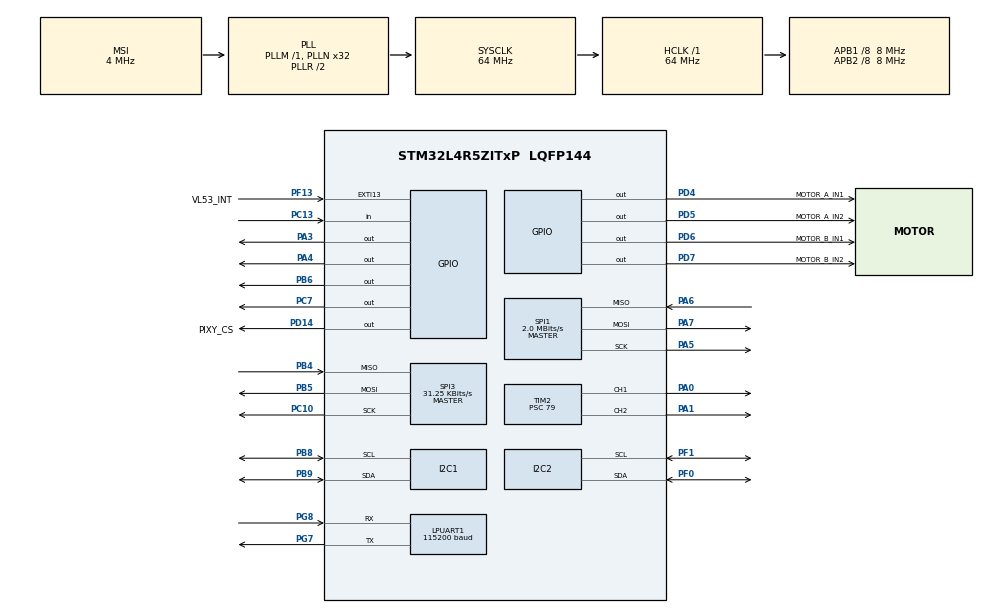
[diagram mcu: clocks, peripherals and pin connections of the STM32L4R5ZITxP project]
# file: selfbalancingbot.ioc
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Dma.I2C1_RX.0.Direction=DMA_PERIPH_TO_MEMORY
Dma.I2C1_RX.0.EventEnable=DISABLE
Dma.I2C1_RX.0.Instance=DMA1_Channel1
Dma.I2C1_RX.0.MemDataAlignment=DMA_MDATAALIGN_BYTE
Dma.I2C1_RX.0.MemInc=DMA_MINC_ENABLE
Dma.I2C1_RX.0.Mode=DMA_NORMAL
Dma.I2C1_RX.0.PeriphDataAlignment=DMA_PDATAALIGN_BYTE
Dma.I2C1_RX.0.PeriphInc=DMA_PINC_DISABLE
Dma.I2C1_RX.0.Polarity=HAL_DMAMUX_REQUEST_GEN_RISING
Dma.I2C1_RX.0.Priority=DMA_PRIORITY_LOW
Dma.I2C1_RX.0.RequestNumber=1
Dma.I2C1_RX.0.SignalID=NONE
Dma.I2C1_RX.0.SyncEnable=DISABLE
Dma.I2C1_RX.0.SyncPolarity=HAL_DMAMUX_SYNC_NO_EVENT
Dma.I2C1_RX.0.SyncRequestNumber=1
Dma.I2C1_RX.0.SyncSignalID=NONE
Dma.I2C2_RX.1.Direction=DMA_PERIPH_TO_MEMORY
Dma.I2C2_RX.1.EventEnable=DISABLE
Dma.I2C2_RX.1.Instance=DMA1_Channel2
Dma.I2C2_RX.1.MemDataAlignment=DMA_MDATAALIGN_BYTE
Dma.I2C2_RX.1.MemInc=DMA_MINC_ENABLE
Dma.I2C2_RX.1.Mode=DMA_NORMAL
Dma.I2C2_RX.1.PeriphDataAlignment=DMA_PDATAALIGN_BYTE
Dma.I2C2_RX.1.PeriphInc=DMA_PINC_DISABLE
Dma.I2C2_RX.1.Polarity=HAL_DMAMUX_REQUEST_GEN_RISING
Dma.I2C2_RX.1.Priority=DMA_PRIORITY_LOW
Dma.I2C2_RX.1.RequestNumber=1
Dma.I2C2_RX.1.SignalID=NONE
Dma.I2C2_RX.1.SyncEnable=DISABLE
Dma.I2C2_RX.1.SyncPolarity=HAL_DMAMUX_SYNC_NO_EVENT
Dma.I2C2_RX.1.SyncRequestNumber=1
Dma.I2C2_RX.1.SyncSignalID=NONE
Dma.Request0=I2C1_RX
Dma.Request1=I2C2_RX
I2C1.Timing=0x00201D2B
I2C2.Timing=0x10B17DB5
LPUART1.BaudRate=115200
LPUART1.WordLength=UART_WORDLENGTH_8B
Mcu.Family=STM32L4
Mcu.Name=STM32L4R5ZITxP
Mcu.Package=LQFP144
NVIC.DMA1_Channel1_IRQn=true\:0\:0\:false\:false\:true\:false\:true\:true
NVIC.DMA1_Channel2_IRQn=true\:0\:0\:false\:false\:true\:false\:true\:true
NVIC.EXTI15_10_IRQn=true\:0\:0\:false\:false\:true\:true\:true\:true
NVIC.I2C1_EV_IRQn=true\:0\:0\:false\:false\:true\:true\:true\:true
NVIC.I2C2_EV_IRQn=true\:0\:0\:false\:false\:true\:true\:true\:true
NVIC.PriorityGroup=NVIC_PRIORITYGROUP_4
PA0.Signal=S_TIM2_CH1
PA1.Signal=S_TIM2_CH2
PA10.Signal=USB_OTG_FS_ID
PA11.Signal=S_TIM1_CH4
PA13\ (JTMS/SWDIO).Signal=SYS_JTMS-SWDIO
PA14\ (JTCK/SWCLK).Signal=SYS_JTCK-SWCLK
PA3.Signal=GPIO_Output
PA4.Signal=GPIO_Output
PA5.Mode=Full_Duplex_Master
PA5.Signal=SPI1_SCK
PA6.Mode=Full_Duplex_Master
PA6.Signal=SPI1_MISO
PA7.Mode=Full_Duplex_Master
PA7.Signal=SPI1_MOSI
PA8.Signal=USB_OTG_FS_SOF
PA9.Signal=USB_OTG_FS_VBUS
PB0.Signal=S_TIM3_CH3
PB1.Signal=ADCx_IN16
PB10.Signal=S_TIM2_CH3
PB12.Signal=SAI2_FS_A
PB13.Signal=SAI2_SCK_A
PB14.Signal=S_TIM15_CH1
PB15.Signal=SAI2_SD_A
PB2.Signal=COMP1_INP
PB4\ (NJTRST).Mode=Full_Duplex_Master
PB4\ (NJTRST).Signal=SPI3_MISO
PB5.Mode=Full_Duplex_Master
PB5.Signal=SPI3_MOSI
PB6.GPIO_PuPd=GPIO_PULLUP
PB6.Signal=GPIO_Output
PB8.Mode=I2C
PB8.Signal=I2C1_SCL
PB9.Mode=I2C
PB9.Signal=I2C1_SDA
PC0.Signal=ADCx_IN1
PC1.Signal=ADCx_IN2
PC10.Mode=Full_Duplex_Master
PC10.Signal=SPI3_SCK
PC11.Signal=SDMMC1_D3
PC12.Signal=SDMMC1_CK
PC13.Signal=GPIO_Input
PC14-OSC32_IN\ (PC14).Signal=RCC_OSC32_IN
PC15-OSC32_OUT\ (PC15).Signal=RCC_OSC32_OUT
PC2.Signal=ADCx_IN3
PC3.Signal=ADCx_IN4
PC4.Signal=ADCx_IN13
PC5.Signal=ADCx_IN14
PC6.Signal=SAI2_MCLK_A
PC7.Signal=GPIO_Output
PC8.Signal=SDMMC1_D0
PC9.Signal=SDMMC1_D1
PD0.Signal=CAN1_RX
PD14.GPIO_Label=PIXY_CS
PD14.Signal=GPIO_Output
PD15.Signal=S_TIM4_CH4
PD2.Signal=SDMMC1_CMD
PD3.Signal=USART2_CTS
PD4.GPIO_Label=MOTOR_A_IN1
PD4.Signal=GPIO_Output
PD5.GPIO_Label=MOTOR_A_IN2
PD5.Signal=GPIO_Output
PD6.GPIO_Label=MOTOR_B_IN1
PD6.Signal=GPIO_Output
PD7.GPIO_Label=MOTOR_B_IN2
PD7.Signal=GPIO_Output
PD8.Signal=USART3_TX
PD9.Signal=USART3_RX
PE0.Signal=S_TIM4_ETR
PE10.Signal=TIM1_CH2N
PE11.Signal=S_TIM1_CH2
PE12.Signal=TIM1_CH3N
PE13.Signal=S_TIM1_CH3
PE14.Signal=TIM1_BKIN2
PE15.Signal=TIM1_BKIN
PE2.Signal=SAI1_MCLK_A
PE3.Signal=SAI1_SD_B
PE7.Signal=S_TIM1_ETR
PE8.Signal=TIM1_CH1N
PE9.Signal=S_TIM1_CH1
PF0.Mode=I2C
PF0.Signal=I2C2_SDA
PF1.Mode=I2C
PF1.Signal=I2C2_SCL
PF13.GPIO_Label=VL53_INT
PF13.GPIO_ModeDefaultEXTI=GPIO_MODE_IT_FALLING
PF13.GPIO_PuPd=GPIO_PULLUP
PF13.Signal=GPXTI13
PF2.Signal=I2C2_SMBA
PF7.Signal=SAI1_MCLK_B
PG7.Mode=Asynchronous
PG7.Signal=LPUART1_TX
PG8.Mode=Asynchronous
PG8.Signal=LPUART1_RX
PH0-OSC_IN\ (PH0).Mode=HSE-External-Oscillator
PH0-OSC_IN\ (PH0).Signal=RCC_OSC_IN
PH1-OSC_OUT\ (PH1).Mode=HSE-External-Oscillator
PH1-OSC_OUT\ (PH1).Signal=RCC_OSC_OUT
ProjectManager.HeapSize=0x200
ProjectManager.StackSize=0x400
ProjectManager.TargetToolchain=STM32CubeIDE
RCC.AHBFreq_Value=64000000
RCC.APB1CLKDivider=RCC_HCLK_DIV8
RCC.APB1Freq_Value=8000000
RCC.APB1TimFreq_Value=16000000
RCC.APB2CLKDivider=RCC_HCLK_DIV8
RCC.APB2Freq_Value=8000000
RCC.APB2TimFreq_Value=16000000
RCC.CortexFreq_Value=64000000
RCC.HCLKFreq_Value=64000000
RCC.HSE_VALUE=8000000
RCC.HSI48_VALUE=48000000
RCC.HSI_VALUE=16000000
RCC.I2C2CLockSelection=RCC_I2C2CLKSOURCE_SYSCLK
RCC.LSE_VALUE=32768
RCC.MSI_VALUE=4000000
RCC.PLLN=32
RCC.SYSCLKFreq_VALUE=64000000
RCC.SYSCLKSource=RCC_SYSCLKSOURCE_PLLCLK
RCC.VCOOutputFreq_Value=128000000
SH.ADCx_IN1.0=ADC1_IN1
SH.ADCx_IN13.0=ADC1_IN13
SH.ADCx_IN14.0=ADC1_IN14
SH.ADCx_IN16.0=ADC1_IN16
SH.ADCx_IN2.0=ADC1_IN2
SH.ADCx_IN3.0=ADC1_IN3
SH.ADCx_IN4.0=ADC1_IN4
SH.S_TIM15_CH1.0=TIM15_CH1
SH.S_TIM1_CH1.0=TIM1_CH1
SH.S_TIM1_CH2.0=TIM1_CH2
SH.S_TIM1_CH3.0=TIM1_CH3
SH.S_TIM1_CH4.0=TIM1_CH4
SH.S_TIM1_ETR.0=TIM1_ETR
SH.S_TIM2_CH1.0=TIM2_CH1,PWM Generation1 CH1
SH.S_TIM2_CH2.0=TIM2_CH2,PWM Generation2 CH2
SH.S_TIM2_CH3.0=TIM2_CH3
SH.S_TIM3_CH3.0=TIM3_CH3
SH.S_TIM4_CH4.0=TIM4_CH4
SH.S_TIM4_ETR.0=TIM4_ETR
SPI1.BaudRatePrescaler=SPI_BAUDRATEPRESCALER_4
SPI1.CLKPhase=SPI_PHASE_2EDGE
SPI1.CLKPolarity=SPI_POLARITY_HIGH
SPI1.CalculateBaudRate=2.0 MBits/s
SPI1.DataSize=SPI_DATASIZE_8BIT
SPI1.Direction=SPI_DIRECTION_2LINES
SPI1.FirstBit=SPI_FIRSTBIT_MSB
SPI1.Mode=SPI_MODE_MASTER
SPI1.VirtualType=VM_MASTER
SPI3.BaudRatePrescaler=SPI_BAUDRATEPRESCALER_256
SPI3.CLKPhase=SPI_PHASE_2EDGE
SPI3.CLKPolarity=SPI_POLARITY_HIGH
SPI3.CalculateBaudRate=31.25 KBits/s
SPI3.DataSize=SPI_DATASIZE_8BIT
SPI3.Direction=SPI_DIRECTION_2LINES
SPI3.FirstBit=SPI_FIRSTBIT_LSB
SPI3.Mode=SPI_MODE_MASTER
SPI3.VirtualType=VM_MASTER
TIM2.AutoReloadPreload=TIM_AUTORELOAD_PRELOAD_ENABLE
TIM2.Channel-PWM\ Generation1\ CH1=TIM_CHANNEL_1
TIM2.Channel-PWM\ Generation2\ CH2=TIM_CHANNEL_2
TIM2.Period=999
TIM2.Prescaler=79
board=NUCLEO-L4R5ZI-P

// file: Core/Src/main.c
/* USER CODE BEGIN Header */
/**
  ******************************************************************************
  * @file           : main.c
  * @brief          : Main program body
  ******************************************************************************
  * @attention
  *
  * Copyright (c) 2026 STMicroelectronics.
  * All rights reserved.
  *
  * This software is licensed under terms that can be found in the LICENSE file
  * in the root directory of this software component.
  * If no LICENSE file comes with this software, it is provided AS-IS.
  *
  ******************************************************************************
  */
/* USER CODE END Header */
#include "main.h"

/* USER CODE BEGIN Includes */
#include <string.h>
#include <stdio.h>
#include "vl53l0x_api.h"
#include "vl53l0x_platform.h"
#include "BNO055_STM32.h"
#include "calib_flash.h"
#include "pixy2.h"
#include "ps2.h"
#include "pid.h"

/* USER CODE END Includes */

/* USER CODE BEGIN PTD */

typedef enum {
    CTRL_AUTO   = 0,
    CTRL_MANUAL = 1,
} CtrlMode_t;

/* USER CODE END PTD */

/* USER CODE BEGIN PD */
#define VL53L0X_ADDR 0x52

/* Pixy2 tracking */
#define PIXY_TRACK_SIG       1       /* signature trained in PixyMon          */
#define PIXY_FRAME_CX        158     /* frame half-width (316 px wide)        */
#define PIXY_STOP_WIDTH      190     /* block width at desired stop distance  */
#define PIXY_MIN_WIDTH       15      /* ignore detections narrower than this  */
#define DRIVE_LEAN_DEG       1.7f    /* forward lean setpoint while chasing   */
#define STEER_GAIN           0.3f    /* px error → PWM differential           */
#define PIXY_LOST_FRAMES     10      /* misses before tracking is cancelled   */
#define PIXY_POLL_DIVIDER    2       /* poll every Nth PID cycle              */

#define VL53_BRAKE_HOLD_MS   1000U
/* USER CODE END PD */

/* USER CODE BEGIN PM */

#define MANUAL_MAX_LEAN_DEG   1.7f   /* max setpoint offset at full stick     */

#define PS2_MODE_ANALOG   0x73
#define PS2_MODE_DIGITAL  0x41

#define DEBUG_PRINT_MS  500U

/* USER CODE END PM */

I2C_HandleTypeDef hi2c1;
I2C_HandleTypeDef hi2c2;
DMA_HandleTypeDef hdma_i2c1_rx;
DMA_HandleTypeDef hdma_i2c2_rx;

UART_HandleTypeDef hlpuart1;

SPI_HandleTypeDef hspi1;
SPI_HandleTypeDef hspi3;

TIM_HandleTypeDef htim2;

/* USER CODE BEGIN PV */

/* VL53L0X */
VL53L0X_Dev_t    vl53_dev;
VL53L0X_DEV      Dev                  = &vl53_dev;
volatile uint8_t vl53_irq_pending     = 0;
volatile uint8_t vl53_stop_request    = 0;
volatile uint8_t vl53_threshold_latched = 0;
uint16_t         vl53_last_range_mm   = 0;
static uint8_t   vl53_brake_active    = 0;
static uint32_t  vl53_brake_release_ms = 0;

/* IMU */
uint8_t      OffsetDatas[22];
BNO055_Sensors_t BNO055;
uint8_t      imu_raw_data[24];
volatile bool imu_data_ready = false;
volatile bool imu_i2c_error = false;

/* Pixy2 */
Pixy2 pixy;

#define PIXY2_SEND_SYNC_BYTE  0xae
#define PIXY2_SEND_SYNC_BYTE2 0xc1
#define PIXY2_RECV_SYNC_BYTE  0xaf
#define PIXY2_RECV_SYNC_BYTE2 0xc1

/* PID */
PIDController pid;
uint32_t      last_pid_tick = 0;

/* Pixy2 tracking state */
static float    steer_output          = 0.0f;
static float    steer_target          = 0.0f;
static float    pixy_x_filt           = (float)PIXY_FRAME_CX;
static uint8_t  pixy_lost_cnt         = 0;
static uint8_t  pixy_poll_ctr         = 0;
static bool     pixy_enabled          = false;
static float    pixy_balance_setpoint = 0.0f;
static uint32_t pixy_debug_ms         = 0;

/* Control state */
static CtrlMode_t ctrl_mode     = CTRL_AUTO;
static CtrlMode_t ctrl_mode_prev = CTRL_AUTO;

/* Debug */
static uint32_t debug_last_ms = 0;

/* PS2 */
uint8_t PS2_RX[9];
uint8_t PS2_TX[9] = {0x01, 0x42, 0x00, 0x00, 0x00, 0x00, 0x00, 0x00, 0x00};

/* USER CODE END PV */

void SystemClock_Config(void);
static void MX_GPIO_Init(void);
static void MX_DMA_Init(void);
static void MX_I2C1_Init(void);
static void MX_LPUART1_UART_Init(void);
static void MX_SPI1_Init(void);
static void MX_I2C2_Init(void);
static void MX_SPI3_Init(void);
static void MX_TIM2_Init(void);
/* USER CODE BEGIN PFP */
static VL53L0X_Error VL53L0X_InterruptMode_Init(void);
static void VL53L0X_HandleThresholdEvent(void);
/* USER CODE END PFP */

/* USER CODE BEGIN 0 */
static VL53L0X_Error VL53L0X_InterruptMode_Init(void)
{
  VL53L0X_Error status;
  const FixPoint1616_t threshold_low = (FixPoint1616_t)(300U << 16);
  const FixPoint1616_t threshold_high = 0;

  status = VL53L0X_SetDeviceMode(Dev, VL53L0X_DEVICEMODE_CONTINUOUS_RANGING);
  if (status != VL53L0X_ERROR_NONE)
  {
    return status;
  }

  status = VL53L0X_SetInterruptThresholds(
      Dev,
      VL53L0X_DEVICEMODE_CONTINUOUS_RANGING,
      threshold_low,
      threshold_high);
  if (status != VL53L0X_ERROR_NONE)
  {
    return status;
  }

  status = VL53L0X_SetGpioConfig(
      Dev,
      0,
      VL53L0X_DEVICEMODE_CONTINUOUS_RANGING,
      VL53L0X_GPIOFUNCTIONALITY_THRESHOLD_CROSSED_LOW,
      VL53L0X_INTERRUPTPOLARITY_LOW);
  if (status != VL53L0X_ERROR_NONE)
  {
    return status;
  }

  status = VL53L0X_ClearInterruptMask(Dev, 0);
  if (status != VL53L0X_ERROR_NONE)
  {
    return status;
  }

  return VL53L0X_StartMeasurement(Dev);
}

static void VL53L0X_HandleThresholdEvent(void)
{
  VL53L0X_Error status;
  VL53L0X_RangingMeasurementData_t ranging_data;

  status = VL53L0X_GetRangingMeasurementData(Dev, &ranging_data);

  if (status == VL53L0X_ERROR_NONE)
  {
    vl53_last_range_mm = ranging_data.RangeMilliMeter;

    if ((ranging_data.RangeStatus == 0U) &&
        (ranging_data.RangeMilliMeter <= 50U)) // 250 original
    {
      vl53_stop_request = 1U;
      vl53_threshold_latched = 1U;

      printf("VL53L0X threshold interrupt: %u mm\r\n",
             (unsigned int)ranging_data.RangeMilliMeter);
    }
  }
  else
  {
    printf("VL53L0X interrupt read failed: %d\r\n", status);
  }

  status = VL53L0X_ClearInterruptMask(Dev, 0);
  if (status != VL53L0X_ERROR_NONE)
  {
    printf("VL53L0X clear interrupt failed: %d\r\n", status);
  }

  VL53L0X_ClearInterruptMask(Dev, 0);
}

// ============ MOTOR AND HBRIDGE USER CODE 0 ============
/**
 * @brief  Set speed and direction for Motor A (ENA=PA0, IN1=PD4, IN2=PD5)
 * @param  duty     0–1000
 * @param  forward  1 = forward, 0 = reverse
 */
void MotorA_Set(uint16_t duty, uint8_t forward)
{
    if (duty > 1000) duty = 1000;

    HAL_GPIO_WritePin(MOTOR_A_IN1_GPIO_Port, MOTOR_A_IN1_Pin,
                      forward ? GPIO_PIN_SET : GPIO_PIN_RESET);
    HAL_GPIO_WritePin(MOTOR_A_IN2_GPIO_Port, MOTOR_A_IN2_Pin,
                      forward ? GPIO_PIN_RESET : GPIO_PIN_SET);

    __HAL_TIM_SET_COMPARE(&htim2, TIM_CHANNEL_1, duty);
}

/**
 * @brief  Set speed and direction for Motor B (ENB=PA1, IN3=PD6, IN4=PD7)
 * @param  duty     0–1000
 * @param  forward  1 = forward, 0 = reverse
 */
void MotorB_Set(uint16_t duty, uint8_t forward)
{
    if (duty > 1000) duty = 1000;

    HAL_GPIO_WritePin(MOTOR_B_IN1_GPIO_Port, MOTOR_B_IN1_Pin,
                      forward ? GPIO_PIN_SET : GPIO_PIN_RESET);
    HAL_GPIO_WritePin(MOTOR_B_IN2_GPIO_Port, MOTOR_B_IN2_Pin,
                      forward ? GPIO_PIN_RESET : GPIO_PIN_SET);

    __HAL_TIM_SET_COMPARE(&htim2, TIM_CHANNEL_2, duty);
}

void MotorA_Brake(void)
{
    HAL_GPIO_WritePin(MOTOR_A_IN1_GPIO_Port, MOTOR_A_IN1_Pin, GPIO_PIN_SET);
    HAL_GPIO_WritePin(MOTOR_A_IN2_GPIO_Port, MOTOR_A_IN2_Pin, GPIO_PIN_SET);
    __HAL_TIM_SET_COMPARE(&htim2, TIM_CHANNEL_1, 1000);
}

void MotorB_Brake(void)
{
    HAL_GPIO_WritePin(MOTOR_B_IN1_GPIO_Port, MOTOR_B_IN1_Pin, GPIO_PIN_SET);
    HAL_GPIO_WritePin(MOTOR_B_IN2_GPIO_Port, MOTOR_B_IN2_Pin, GPIO_PIN_SET);
    __HAL_TIM_SET_COMPARE(&htim2, TIM_CHANNEL_2, 1000);
}

void MotorA_Coast(void)
{
    HAL_GPIO_WritePin(MOTOR_A_IN1_GPIO_Port, MOTOR_A_IN1_Pin, GPIO_PIN_RESET);
    HAL_GPIO_WritePin(MOTOR_A_IN2_GPIO_Port, MOTOR_A_IN2_Pin, GPIO_PIN_RESET);
    __HAL_TIM_SET_COMPARE(&htim2, TIM_CHANNEL_1, 0);
}

void MotorB_Coast(void)
{
    HAL_GPIO_WritePin(MOTOR_B_IN1_GPIO_Port, MOTOR_B_IN1_Pin, GPIO_PIN_RESET);
    HAL_GPIO_WritePin(MOTOR_B_IN2_GPIO_Port, MOTOR_B_IN2_Pin, GPIO_PIN_RESET);
    __HAL_TIM_SET_COMPARE(&htim2, TIM_CHANNEL_2, 0);
}

static inline void Pixy2_CS_Select(void) {
	HAL_GPIO_WritePin(PIXY_CS_GPIO_Port, PIXY_CS_Pin, GPIO_PIN_RESET);
}
static inline void Pixy2_CS_Deselect(void) {
	HAL_GPIO_WritePin(PIXY_CS_GPIO_Port, PIXY_CS_Pin, GPIO_PIN_SET);
}

/**
 * @brief  Apply PID output + lateral steering differential to both motors.
 * @param  output  Signed PID output; positive = forward, magnitude = PWM duty.
 * @param  steer   Signed steering bias. +steer speeds up Motor A (left),
 *                 slows Motor B (right), turning the robot right.
 */
static void PID_Drive_Motors_Steered(float output, float steer)
{
    if      (output >  PWM_MAX) output =  PWM_MAX;
    else if (output < -PWM_MAX) output = -PWM_MAX;

    float outA = output - steer;
    float outB = output + steer;

    if (outA >  PWM_MAX) outA =  PWM_MAX;
    if (outA < -PWM_MAX) outA = -PWM_MAX;
    if (outB >  PWM_MAX) outB =  PWM_MAX;
    if (outB < -PWM_MAX) outB = -PWM_MAX;

    if (outA > 0.0f && outA < PWM_MIN_DEADBAND) outA = PWM_MIN_DEADBAND;
    if (outA < 0.0f && outA > -PWM_MIN_DEADBAND) outA = -PWM_MIN_DEADBAND;
    if (outB > 0.0f && outB < PWM_MIN_DEADBAND) outB = PWM_MIN_DEADBAND;
    if (outB < 0.0f && outB > -PWM_MIN_DEADBAND) outB = -PWM_MIN_DEADBAND;

    if (outA > 0.0f)       MotorA_Set((uint16_t)outA, 1);
    else if (outA < 0.0f)  MotorA_Set((uint16_t)(-outA), 0);
    else                   MotorA_Brake();

    if (outB > 0.0f)       MotorB_Set((uint16_t)outB, 1);
    else if (outB < 0.0f)  MotorB_Set((uint16_t)(-outB), 0);
    else                   MotorB_Brake();
}

/**
 * @brief  Poll the Pixy2 and update the PID setpoint + steering bias.
 *         Called every PIXY_POLL_DIVIDER PID cycles.
 */
static void Pixy2_UpdateTracking(PIDController *p)
{
    int count = Pixy2_GetBlocks(&pixy,
                                (uint8_t)(1u << (PIXY_TRACK_SIG - 1)),
                                1);

    if (count > 0 && pixy.blocks[0].width >= PIXY_MIN_WIDTH)
    {
        pixy_lost_cnt = 0;

        uint16_t bw = pixy.blocks[0].width;
        uint16_t bx = pixy.blocks[0].x;

        /* LP filter x position — alpha 0.4, ~2.5 cycle time constant at 50 Hz */
        pixy_x_filt = pixy_x_filt * 0.6f + (float)bx * 0.4f;

        if (bw >= PIXY_STOP_WIDTH)
        {
            PID_SetTarget(p, pixy_balance_setpoint);
            steer_target = 0.0f;
        }
        else
        {
            PID_SetTarget(p, pixy_balance_setpoint + DRIVE_LEAN_DEG);

            float lateral_err = pixy_x_filt - (float)PIXY_FRAME_CX;
            steer_target = lateral_err * STEER_GAIN;

            if (steer_target >  (PWM_MAX * 0.25f)) steer_target =  (PWM_MAX * 0.25f);
            if (steer_target < -(PWM_MAX * 0.25f)) steer_target = -(PWM_MAX * 0.25f);
        }
    }
    else
    {
        if (pixy_lost_cnt < PIXY_LOST_FRAMES)
        {
            pixy_lost_cnt++;
        }
        else
        {
            PID_SetTarget(p, pixy_balance_setpoint);
            steer_target = 0.0f;
        }
    }
}

void PID_Drive_Motors(float output)
{
    if      (output >  PWM_MAX) output =  PWM_MAX;
    else if (output < -PWM_MAX) output = -PWM_MAX;

    if (output > 0.0f && output <  PWM_MIN_DEADBAND) output =  PWM_MIN_DEADBAND;
    if (output < 0.0f && output > -PWM_MIN_DEADBAND) output = -PWM_MIN_DEADBAND;

    uint16_t duty = (uint16_t)fabsf(output);

    if (output > 0.0f) {
        MotorA_Set(duty, 1);
        MotorB_Set(duty, 1);
    }
    else if (output < 0.0f) {
        MotorA_Set(duty, 0);
        MotorB_Set(duty, 0);
    }
    else {
        MotorA_Brake();
        MotorB_Brake();
    }
}

void Sensor_Init(void)
{
	BNO_Status_t Status = {0};

	BNO055_Init_t BNO055_InitStruct = {0};

	ResetBNO055();
	HAL_Delay(800);
	/*============================ *BNO055 Initialization* ============================*/

	BNO055_InitStruct.ACC_Range = Range_4G;
	BNO055_InitStruct.Axis = DEFAULT_AXIS_REMAP;
	BNO055_InitStruct.Axis_sign = DEFAULT_AXIS_SIGN;
	BNO055_InitStruct.Clock_Source = CLOCK_EXTERNAL;
	BNO055_InitStruct.Mode = BNO055_NORMAL_MODE;
	BNO055_InitStruct.OP_Modes = IMU;
	BNO055_InitStruct.Unit_Sel = (UNIT_ORI_ANDROID | UNIT_TEMP_CELCIUS | UNIT_EUL_DEG | UNIT_GYRO_DPS | UNIT_ACC_MS2);
	BNO055_Init(BNO055_InitStruct);

	uint8_t calibBuf[CALIB_DATA_SIZE];
	bool needs_calibration = false;

	/* Hold user button at boot to force recalibration */
	if (HAL_GPIO_ReadPin(GPIOC, GPIO_PIN_13) == GPIO_PIN_SET) {
		printf("User button held — forcing recalibration.\r\n");
		Calib_Flash_Erase();
		needs_calibration = true;

	} else if (Calib_Flash_Load(calibBuf)) {
		setSensorOffsets(calibBuf);
		printf("Calibration restored from flash — skipping recalibration.\r\n");

	} else {
		needs_calibration = true;
	}

	if (needs_calibration) {
		if(Calibrate_BNO055())
			{
				getSensorOffsets(OffsetDatas);
				Calib_Flash_Save(OffsetDatas);
			}
			else
			{
				printf("Sensor calibration failed.\nFailed to retrieve offset data\n");
			}
	}

	Check_Status(&Status);
	printf("Selftest Result: %d\t",Status.STresult);
	printf("System Status: %d\t",Status.SYSStatus);
	printf("System Error: %d\n",Status.SYSError);

}

void BNO055_setup() {
	Sensor_Init();

	Calib_status_t current_calib = {0};
	getCalibration(&current_calib);

	printf("Boot Calibration Level -> System: %d | Gyro: %d | Accel: %d\r\n",
	       current_calib.System, current_calib.Gyro, current_calib.Acc);

}

/* USER CODE END 0 */

int main(void)
{

  /* USER CODE BEGIN 1 */
	VL53L0X_Error status;
	uint32_t refSpadCount = 0;
	uint8_t isApertureSpads = 0;
	uint8_t VhvSettings = 0;
	uint8_t PhaseCal = 0;

  /* USER CODE END 1 */

  /* MCU Configuration--------------------------------------------------------*/

  /* Reset of all peripherals, Initializes the Flash interface and the Systick. */
  HAL_Init();

  /* Configure the system clock */
  SystemClock_Config();

  /* Initialize all configured peripherals */
  MX_GPIO_Init();
  MX_DMA_Init();
  MX_I2C1_Init();
  MX_LPUART1_UART_Init();
  MX_SPI1_Init();
  MX_I2C2_Init();
  MX_SPI3_Init();
  MX_TIM2_Init();
  /* USER CODE BEGIN 2 */

  HAL_TIM_PWM_Start(&htim2, TIM_CHANNEL_1);  /* Motor A */
  HAL_TIM_PWM_Start(&htim2, TIM_CHANNEL_2);  /* Motor B */

  HAL_GPIO_WritePin(GPIOB, GPIO_PIN_6, GPIO_PIN_SET);
  HAL_GPIO_WritePin(GPIOB, GPIO_PIN_7, GPIO_PIN_RESET);
  HAL_GPIO_WritePin(GPIOB, GPIO_PIN_14, GPIO_PIN_RESET);

  /* LD2 blue = PB7, LD3 red = PB14 */
  HAL_GPIO_WritePin(GPIOB, GPIO_PIN_7, GPIO_PIN_RESET);
  HAL_GPIO_WritePin(GPIOB, GPIO_PIN_14, GPIO_PIN_RESET);

  BNO055_setup();

  HAL_TIM_PWM_Start(&htim2, TIM_CHANNEL_1);
  HAL_TIM_PWM_Start(&htim2, TIM_CHANNEL_2);

  MotorA_Brake();
  MotorB_Brake();

  /* 3 slow blinks on LD2 = board alive, about to init Pixy2 */
	for (int i = 0; i < 3; i++) {
		HAL_GPIO_WritePin(GPIOB, GPIO_PIN_7, GPIO_PIN_SET);
		HAL_Delay(500);
		HAL_GPIO_WritePin(GPIOB, GPIO_PIN_7, GPIO_PIN_RESET);
		HAL_Delay(500);
	}

	if (Pixy2_Init(&pixy, &hspi1, GPIOD, GPIO_PIN_14) == HAL_OK) {
		pixy_enabled = true;
		/* 2 fast blinks = init OK */
		for (int i = 0; i < 2; i++) {
			HAL_GPIO_WritePin(GPIOB, GPIO_PIN_7, GPIO_PIN_SET);
			HAL_Delay(150);
			HAL_GPIO_WritePin(GPIOB, GPIO_PIN_7, GPIO_PIN_RESET);
			HAL_Delay(150);
		}
		printf("Pixy2 init OK — fw %u.%u\r\n",
		       pixy.version.firmware[0], pixy.version.firmware[1]);
	} else {
		pixy_enabled = false;
		HAL_GPIO_WritePin(GPIOB, GPIO_PIN_14, GPIO_PIN_SET);
		HAL_Delay(1000);
		HAL_GPIO_WritePin(GPIOB, GPIO_PIN_14, GPIO_PIN_RESET);
		printf("Pixy2 init FAILED — running balance-only mode\r\n");
	}

  HAL_Delay(10);

  memset(&vl53_dev, 0, sizeof(vl53_dev));
  Dev->I2cDevAddr = VL53L0X_ADDR;
  Dev->comms_type = 1;
  Dev->comms_speed_khz = 100;

  status = VL53L0X_DataInit(Dev);
  if (status != VL53L0X_ERROR_NONE)
  {
    printf("DataInit failed: %d\r\n", status);
    Error_Handler();
  }

  status = VL53L0X_StaticInit(Dev);
  if (status != VL53L0X_ERROR_NONE)
  {
    printf("StaticInit failed: %d\r\n", status);
    Error_Handler();
  }

  status = VL53L0X_PerformRefSpadManagement(Dev, &refSpadCount, &isApertureSpads);
  if (status != VL53L0X_ERROR_NONE)
  {
    printf("RefSpadManagement failed: %d\r\n", status);
    Error_Handler();
  }

  status = VL53L0X_PerformRefCalibration(Dev, &VhvSettings, &PhaseCal);
  if (status != VL53L0X_ERROR_NONE)
  {
    printf("RefCalibration failed: %d\r\n", status);
    Error_Handler();
  }

  status = VL53L0X_InterruptMode_Init();
  if (status != VL53L0X_ERROR_NONE)
  {
    printf("VL53L0X interrupt init failed: %d\r\n", status);
    Error_Handler();
  }

  printf("VL53L0X interrupt mode ready\r\n");

  PID_Init(&pid);
  pid.setpoint        = 0.0f;
  pid.setpoint_target = 0.0f;
  pixy_balance_setpoint = pid.setpoint;
  last_pid_tick = HAL_GetTick();

  HAL_StatusTypeDef BNO055_status = BNO055_Read_DMA(imu_raw_data);

  /* USER CODE END 2 */

  /* Infinite loop */
  /* USER CODE BEGIN WHILE */
  while (1)
  {

		if (vl53_irq_pending != 0U)
		{
		  vl53_irq_pending = 0U;
		  VL53L0X_HandleThresholdEvent();
		}

		if (vl53_stop_request != 0U)
		{
			PID_SetTarget(&pid, pixy_balance_setpoint);
			steer_target  = 0.0f;
			steer_output  = 0.0f;
			pixy_lost_cnt = PIXY_LOST_FRAMES;
			MotorA_Brake();
			MotorB_Brake();
			vl53_brake_active      = 1U;
			vl53_brake_release_ms  = HAL_GetTick() + VL53_BRAKE_HOLD_MS;
			vl53_stop_request      = 0U;
		}

		static uint32_t last_imu_tick = 0;

		if (imu_i2c_error) {
		    imu_i2c_error = false;
		    MotorA_Brake();
		    MotorB_Brake();
		    printf("I2C error — recovering\r\n");

		    HAL_I2C_DeInit(&bno_i2c);
		    HAL_Delay(10);
		    HAL_I2C_Init(&bno_i2c);
		    HAL_Delay(5);
		    BNO055_Read_DMA(imu_raw_data);
		}

		if (!imu_data_ready) {
			HAL_GPIO_WritePin(GPIOC, GPIO_PIN_7, GPIO_PIN_RESET);
			HAL_GPIO_WritePin(GPIOB, GPIO_PIN_14, GPIO_PIN_RESET);
			HAL_GPIO_WritePin(GPIOB, GPIO_PIN_7, GPIO_PIN_SET);

			if (HAL_GetTick() - last_imu_tick > 50) {
				MotorA_Brake();
				MotorB_Brake();
				printf("IMU timeout — recovering\r\n");

				ResetBNO055();
				HAL_I2C_DeInit(&bno_i2c);
				HAL_Delay(10);
				HAL_I2C_Init(&bno_i2c);
				HAL_Delay(5);
				BNO055_Read_DMA(imu_raw_data);
				last_imu_tick = HAL_GetTick();
			 }
			continue;
		}

		last_imu_tick = HAL_GetTick();

		BNO055_DMA_store(&BNO055);

		imu_data_ready = false;

		uint32_t now = HAL_GetTick();
		float dt = (now - last_pid_tick) / 1000.0f;
		last_pid_tick = now;
		if (dt < DT_MIN_S) dt = DT_MIN_S;
		if (dt > DT_MAX_S) dt = DT_MAX_S;

		/* Kick off the next DMA read. The CPU moves on instantly. */
		/* (Note: To ensure exactly 100Hz, we might move this trigger into a Hardware Timer) */
		  BNO055_status = BNO055_Read_DMA(imu_raw_data);

		  if (BNO055_status == HAL_OK) {
				  HAL_GPIO_WritePin(GPIOB, GPIO_PIN_14, GPIO_PIN_RESET);
				  HAL_GPIO_WritePin(GPIOB, GPIO_PIN_7, GPIO_PIN_RESET);
				  HAL_GPIO_WritePin(GPIOC, GPIO_PIN_7, GPIO_PIN_SET);
		  } else {
			      HAL_I2C_DeInit(&bno_i2c);
			      HAL_Delay(10);
			      HAL_I2C_Init(&bno_i2c);
			      HAL_Delay(10);
			      BNO055_Read_DMA(imu_raw_data);
		  }

		  /* ========== PS2 CONTROLLER CODE ========== */

		  		HAL_GPIO_WritePin(GPIOB, GPIO_PIN_6, GPIO_PIN_RESET);
		  		HAL_SPI_TransmitReceive(&hspi3, PS2_TX, PS2_RX, 9, 10);
		  		HAL_GPIO_WritePin(GPIOB, GPIO_PIN_6, GPIO_PIN_SET);

		  		printf("%#x, %#x, %#x, %#x, %#x, %#x, %#x, %#x, %#x\n", PS2_RX[0], PS2_RX[1], PS2_RX[2], PS2_RX[3], PS2_RX[4], PS2_RX[5], PS2_RX[6], PS2_RX[7], PS2_RX[8]);

		  ctrl_mode = (PS2_RX[1] == PS2_MODE_ANALOG) ? CTRL_MANUAL : CTRL_AUTO;

		  if (ctrl_mode != ctrl_mode_prev)
		  {
			  steer_target = 0.0f;
			  steer_output = 0.0f;
			  pixy_x_filt  = (float)PIXY_FRAME_CX;
			  pixy_lost_cnt = PIXY_LOST_FRAMES;

			  PID_SetTarget(&pid, pixy_balance_setpoint);

			  printf("Mode → %s\r\n",
					 (ctrl_mode == CTRL_MANUAL) ? "MANUAL" : "AUTO");
			  ctrl_mode_prev = ctrl_mode;
		  }

		  if (ctrl_mode == CTRL_MANUAL)
		  {
			  /*
			   * Left stick Y axis (RX[7]):
			   *   0x7B = centred, 0x00 = full up (forward lean), 0xFF = full down (backward lean)
			   */
			  float lean = ((float)(PS2_RX[8] - 0x7B) / 127.0f) * MANUAL_MAX_LEAN_DEG;

			  float steer_output = -((float)(PS2_RX[7] - 0x7B) / 127.0f) * STEER_GAIN;

			  PID_SetTarget(&pid, pixy_balance_setpoint + lean);

			  steer_target = 0.0f;
		  }
		  else /* CTRL_AUTO */
		  {
			  if (pixy_enabled)
			  {
				  pixy_poll_ctr++;
				  if (pixy_poll_ctr >= PIXY_POLL_DIVIDER)
				  {
					  pixy_poll_ctr = 0;
					  Pixy2_UpdateTracking(&pid);
				  }
			  }

			  steer_output = steer_output * (1.0f - STEER_LP_ALPHA)
						   + steer_target * STEER_LP_ALPHA;
		  }

		  PID_RampSetpoint(&pid, dt);

		  float pitch      =  BNO055.Euler.Z;
		  float pitch_rate = -BNO055.Gyro.X;

		  if (pitch < -180.0f || pitch > 180.0f)
		  {
			  continue;
		  }

		  bool ok = PID_Update(&pid, pitch, pitch_rate, dt);

		  if (!ok)
		  {
			  MotorA_Brake();
			  MotorB_Brake();
			  PID_SetTarget(&pid, pixy_balance_setpoint);
			  steer_target  = 0.0f;
			  steer_output  = 0.0f;
			  pixy_lost_cnt = PIXY_LOST_FRAMES;
			  printf("FALLEN | Pitch: %.2f\r\n", pitch);
			  continue;
		  }

		  if (vl53_brake_active != 0U)
		  {
			  if ((int32_t)(HAL_GetTick() - vl53_brake_release_ms) >= 0)
			  {
				  VL53L0X_ClearInterruptMask(Dev, 0);
				  vl53_brake_active      = 0U;
				  vl53_threshold_latched = 0U;
				  pixy_poll_ctr          = 0;
				  printf("VL53 brake released\r\n");
			  }
			  else
			  {
				  MotorA_Brake();
				  MotorB_Brake();
				  continue;
			  }
			}

		  if (pid.output == 0.0f && steer_output == 0.0f) {
					MotorA_Brake();
					MotorB_Brake();
				  } else {
					PID_Drive_Motors_Steered(pid.output, steer_output);
				  }

    // Y DATA GIVES POWER (Forward if > 0x7b, backwards if 0x7b > )
    // X DATA GIVES DISTRIBUTION
    	// full to both if x == 0x7b,
    	// 100% Left if 0x00,
    	// 100% right if 0xFF,
    	// split ratio based on difference
    	// use equation x/0xFF and (0xFF - x)/0xFF

		  printf("setpoint is %.2f\n", pid.setpoint);

	  }

    /* USER CODE END WHILE */

}

void SystemClock_Config(void)
{
  RCC_OscInitTypeDef RCC_OscInitStruct = {0};
  RCC_ClkInitTypeDef RCC_ClkInitStruct = {0};

  /** Configure the main internal regulator output voltage
  */
  if (HAL_PWREx_ControlVoltageScaling(PWR_REGULATOR_VOLTAGE_SCALE1) != HAL_OK)
  {
    Error_Handler();
  }

  /** Initializes the RCC Oscillators according to the specified parameters
  * in the RCC_OscInitTypeDef structure.
  */
  RCC_OscInitStruct.OscillatorType = RCC_OSCILLATORTYPE_MSI;
  RCC_OscInitStruct.MSIState = RCC_MSI_ON;
  RCC_OscInitStruct.MSICalibrationValue = 0;
  RCC_OscInitStruct.MSIClockRange = RCC_MSIRANGE_6;
  RCC_OscInitStruct.PLL.PLLState = RCC_PLL_ON;
  RCC_OscInitStruct.PLL.PLLSource = RCC_PLLSOURCE_MSI;
  RCC_OscInitStruct.PLL.PLLM = 1;
  RCC_OscInitStruct.PLL.PLLN = 32;
  RCC_OscInitStruct.PLL.PLLP = RCC_PLLP_DIV2;
  RCC_OscInitStruct.PLL.PLLQ = RCC_PLLQ_DIV2;
  RCC_OscInitStruct.PLL.PLLR = RCC_PLLR_DIV2;
  if (HAL_RCC_OscConfig(&RCC_OscInitStruct) != HAL_OK)
  {
    Error_Handler();
  }

  /** Initializes the CPU, AHB and APB buses clocks
  */
  RCC_ClkInitStruct.ClockType = RCC_CLOCKTYPE_HCLK|RCC_CLOCKTYPE_SYSCLK
                              |RCC_CLOCKTYPE_PCLK1|RCC_CLOCKTYPE_PCLK2;
  RCC_ClkInitStruct.SYSCLKSource = RCC_SYSCLKSOURCE_PLLCLK;
  RCC_ClkInitStruct.AHBCLKDivider = RCC_SYSCLK_DIV1;
  RCC_ClkInitStruct.APB1CLKDivider = RCC_HCLK_DIV8;
  RCC_ClkInitStruct.APB2CLKDivider = RCC_HCLK_DIV8;

  if (HAL_RCC_ClockConfig(&RCC_ClkInitStruct, FLASH_LATENCY_3) != HAL_OK)
  {
    Error_Handler();
  }
}

static void MX_I2C1_Init(void)
{

  hi2c1.Instance = I2C1;
  hi2c1.Init.Timing = 0x00201D2B;
  hi2c1.Init.OwnAddress1 = 0;
  hi2c1.Init.AddressingMode = I2C_ADDRESSINGMODE_7BIT;
  hi2c1.Init.DualAddressMode = I2C_DUALADDRESS_DISABLE;
  hi2c1.Init.OwnAddress2 = 0;
  hi2c1.Init.OwnAddress2Masks = I2C_OA2_NOMASK;
  hi2c1.Init.GeneralCallMode = I2C_GENERALCALL_DISABLE;
  hi2c1.Init.NoStretchMode = I2C_NOSTRETCH_DISABLE;
  if (HAL_I2C_Init(&hi2c1) != HAL_OK)
  {
    Error_Handler();
  }

  /** Configure Analogue filter
  */
  if (HAL_I2CEx_ConfigAnalogFilter(&hi2c1, I2C_ANALOGFILTER_ENABLE) != HAL_OK)
  {
    Error_Handler();
  }

  /** Configure Digital filter
  */
  if (HAL_I2CEx_ConfigDigitalFilter(&hi2c1, 0) != HAL_OK)
  {
    Error_Handler();
  }

}

static void MX_I2C2_Init(void)
{

  hi2c2.Instance = I2C2;
  hi2c2.Init.Timing = 0x10B17DB5;
  hi2c2.Init.OwnAddress1 = 0;
  hi2c2.Init.AddressingMode = I2C_ADDRESSINGMODE_7BIT;
  hi2c2.Init.DualAddressMode = I2C_DUALADDRESS_DISABLE;
  hi2c2.Init.OwnAddress2 = 0;
  hi2c2.Init.OwnAddress2Masks = I2C_OA2_NOMASK;
  hi2c2.Init.GeneralCallMode = I2C_GENERALCALL_DISABLE;
  hi2c2.Init.NoStretchMode = I2C_NOSTRETCH_DISABLE;
  if (HAL_I2C_Init(&hi2c2) != HAL_OK)
  {
    Error_Handler();
  }

  /** Configure Analogue filter
  */
  if (HAL_I2CEx_ConfigAnalogFilter(&hi2c2, I2C_ANALOGFILTER_ENABLE) != HAL_OK)
  {
    Error_Handler();
  }

  /** Configure Digital filter
  */
  if (HAL_I2CEx_ConfigDigitalFilter(&hi2c2, 0) != HAL_OK)
  {
    Error_Handler();
  }

}

static void MX_LPUART1_UART_Init(void)
{

  hlpuart1.Instance = LPUART1;
  hlpuart1.Init.BaudRate = 115200;
  hlpuart1.Init.WordLength = UART_WORDLENGTH_8B;
  hlpuart1.Init.StopBits = UART_STOPBITS_1;
  hlpuart1.Init.Parity = UART_PARITY_NONE;
  hlpuart1.Init.Mode = UART_MODE_TX_RX;
  hlpuart1.Init.HwFlowCtl = UART_HWCONTROL_NONE;
  hlpuart1.Init.OneBitSampling = UART_ONE_BIT_SAMPLE_DISABLE;
  hlpuart1.Init.ClockPrescaler = UART_PRESCALER_DIV1;
  hlpuart1.AdvancedInit.AdvFeatureInit = UART_ADVFEATURE_NO_INIT;
  hlpuart1.FifoMode = UART_FIFOMODE_DISABLE;
  if (HAL_UART_Init(&hlpuart1) != HAL_OK)
  {
    Error_Handler();
  }
  if (HAL_UARTEx_SetTxFifoThreshold(&hlpuart1, UART_TXFIFO_THRESHOLD_1_8) != HAL_OK)
  {
    Error_Handler();
  }
  if (HAL_UARTEx_SetRxFifoThreshold(&hlpuart1, UART_RXFIFO_THRESHOLD_1_8) != HAL_OK)
  {
    Error_Handler();
  }
  if (HAL_UARTEx_DisableFifoMode(&hlpuart1) != HAL_OK)
  {
    Error_Handler();
  }

}

static void MX_SPI1_Init(void)
{

  hspi1.Instance = SPI1;
  hspi1.Init.Mode = SPI_MODE_MASTER;
  hspi1.Init.Direction = SPI_DIRECTION_2LINES;
  hspi1.Init.DataSize = SPI_DATASIZE_8BIT;
  hspi1.Init.CLKPolarity = SPI_POLARITY_HIGH;
  hspi1.Init.CLKPhase = SPI_PHASE_2EDGE;
  hspi1.Init.NSS = SPI_NSS_SOFT;
  hspi1.Init.BaudRatePrescaler = SPI_BAUDRATEPRESCALER_4;
  hspi1.Init.FirstBit = SPI_FIRSTBIT_MSB;
  hspi1.Init.TIMode = SPI_TIMODE_DISABLE;
  hspi1.Init.CRCCalculation = SPI_CRCCALCULATION_DISABLE;
  hspi1.Init.CRCPolynomial = 7;
  hspi1.Init.CRCLength = SPI_CRC_LENGTH_DATASIZE;
  hspi1.Init.NSSPMode = SPI_NSS_PULSE_DISABLE;
  if (HAL_SPI_Init(&hspi1) != HAL_OK)
  {
    Error_Handler();
  }

}

static void MX_SPI3_Init(void)
{

  hspi3.Instance = SPI3;
  hspi3.Init.Mode = SPI_MODE_MASTER;
  hspi3.Init.Direction = SPI_DIRECTION_2LINES;
  hspi3.Init.DataSize = SPI_DATASIZE_8BIT;
  hspi3.Init.CLKPolarity = SPI_POLARITY_HIGH;
  hspi3.Init.CLKPhase = SPI_PHASE_2EDGE;
  hspi3.Init.NSS = SPI_NSS_SOFT;
  hspi3.Init.BaudRatePrescaler = SPI_BAUDRATEPRESCALER_256;
  hspi3.Init.FirstBit = SPI_FIRSTBIT_LSB;
  hspi3.Init.TIMode = SPI_TIMODE_DISABLE;
  hspi3.Init.CRCCalculation = SPI_CRCCALCULATION_DISABLE;
  hspi3.Init.CRCPolynomial = 7;
  hspi3.Init.CRCLength = SPI_CRC_LENGTH_DATASIZE;
  hspi3.Init.NSSPMode = SPI_NSS_PULSE_DISABLE;
  if (HAL_SPI_Init(&hspi3) != HAL_OK)
  {
    Error_Handler();
  }

}

static void MX_TIM2_Init(void)
{

  TIM_MasterConfigTypeDef sMasterConfig = {0};
  TIM_OC_InitTypeDef sConfigOC = {0};

  htim2.Instance = TIM2;
  htim2.Init.Prescaler = 79;
  htim2.Init.CounterMode = TIM_COUNTERMODE_UP;
  htim2.Init.Period = 999;
  htim2.Init.ClockDivision = TIM_CLOCKDIVISION_DIV1;
  htim2.Init.AutoReloadPreload = TIM_AUTORELOAD_PRELOAD_ENABLE;
  if (HAL_TIM_PWM_Init(&htim2) != HAL_OK)
  {
    Error_Handler();
  }
  sMasterConfig.MasterOutputTrigger = TIM_TRGO_RESET;
  sMasterConfig.MasterSlaveMode = TIM_MASTERSLAVEMODE_DISABLE;
  if (HAL_TIMEx_MasterConfigSynchronization(&htim2, &sMasterConfig) != HAL_OK)
  {
    Error_Handler();
  }
  sConfigOC.OCMode = TIM_OCMODE_PWM1;
  sConfigOC.Pulse = 0;
  sConfigOC.OCPolarity = TIM_OCPOLARITY_HIGH;
  sConfigOC.OCFastMode = TIM_OCFAST_DISABLE;
  if (HAL_TIM_PWM_ConfigChannel(&htim2, &sConfigOC, TIM_CHANNEL_1) != HAL_OK)
  {
    Error_Handler();
  }
  if (HAL_TIM_PWM_ConfigChannel(&htim2, &sConfigOC, TIM_CHANNEL_2) != HAL_OK)
  {
    Error_Handler();
  }
  HAL_TIM_MspPostInit(&htim2);

}

static void MX_DMA_Init(void)
{

  /* DMA controller clock enable */
  __HAL_RCC_DMAMUX1_CLK_ENABLE();
  __HAL_RCC_DMA1_CLK_ENABLE();

  /* DMA interrupt init */
  /* DMA1_Channel1_IRQn interrupt configuration */
  HAL_NVIC_SetPriority(DMA1_Channel1_IRQn, 0, 0);
  HAL_NVIC_EnableIRQ(DMA1_Channel1_IRQn);
  /* DMA1_Channel2_IRQn interrupt configuration */
  HAL_NVIC_SetPriority(DMA1_Channel2_IRQn, 0, 0);
  HAL_NVIC_EnableIRQ(DMA1_Channel2_IRQn);

}

static void MX_GPIO_Init(void)
{
  GPIO_InitTypeDef GPIO_InitStruct = {0};

  /* GPIO Ports Clock Enable */
  __HAL_RCC_GPIOE_CLK_ENABLE();
  __HAL_RCC_GPIOC_CLK_ENABLE();
  __HAL_RCC_GPIOF_CLK_ENABLE();
  __HAL_RCC_GPIOH_CLK_ENABLE();
  __HAL_RCC_GPIOA_CLK_ENABLE();
  __HAL_RCC_GPIOB_CLK_ENABLE();
  __HAL_RCC_GPIOD_CLK_ENABLE();
  __HAL_RCC_GPIOG_CLK_ENABLE();
  HAL_PWREx_EnableVddIO2();

  /*Configure GPIO pin Output Level */
  HAL_GPIO_WritePin(GPIOA, GPIO_PIN_3|GPIO_PIN_4, GPIO_PIN_RESET);

  /*Configure GPIO pin Output Level */
  HAL_GPIO_WritePin(GPIOD, PIXY_CS_Pin|MOTOR_A_IN1_Pin|MOTOR_A_IN2_Pin|MOTOR_B_IN1_Pin
                          |MOTOR_B_IN2_Pin, GPIO_PIN_RESET);

  /*Configure GPIO pin Output Level */
  HAL_GPIO_WritePin(GPIOC, GPIO_PIN_7, GPIO_PIN_RESET);

  /*Configure GPIO pin Output Level */
  HAL_GPIO_WritePin(GPIOB, GPIO_PIN_6, GPIO_PIN_RESET);

  /*Configure GPIO pins : PE2 PE3 */
  GPIO_InitStruct.Pin = GPIO_PIN_2|GPIO_PIN_3;
  GPIO_InitStruct.Mode = GPIO_MODE_AF_PP;
  GPIO_InitStruct.Pull = GPIO_NOPULL;
  GPIO_InitStruct.Speed = GPIO_SPEED_FREQ_LOW;
  GPIO_InitStruct.Alternate = GPIO_AF13_SAI1;
  HAL_GPIO_Init(GPIOE, &GPIO_InitStruct);

  /*Configure GPIO pin : PC13 */
  GPIO_InitStruct.Pin = GPIO_PIN_13;
  GPIO_InitStruct.Mode = GPIO_MODE_INPUT;
  GPIO_InitStruct.Pull = GPIO_NOPULL;
  HAL_GPIO_Init(GPIOC, &GPIO_InitStruct);

  /*Configure GPIO pin : PF7 */
  GPIO_InitStruct.Pin = GPIO_PIN_7;
  GPIO_InitStruct.Mode = GPIO_MODE_AF_PP;
  GPIO_InitStruct.Pull = GPIO_NOPULL;
  GPIO_InitStruct.Speed = GPIO_SPEED_FREQ_LOW;
  GPIO_InitStruct.Alternate = GPIO_AF13_SAI1;
  HAL_GPIO_Init(GPIOF, &GPIO_InitStruct);

  /*Configure GPIO pins : PC0 PC1 PC2 PC3
                           PC4 PC5 */
  GPIO_InitStruct.Pin = GPIO_PIN_0|GPIO_PIN_1|GPIO_PIN_2|GPIO_PIN_3
                          |GPIO_PIN_4|GPIO_PIN_5;
  GPIO_InitStruct.Mode = GPIO_MODE_ANALOG_ADC_CONTROL;
  GPIO_InitStruct.Pull = GPIO_NOPULL;
  HAL_GPIO_Init(GPIOC, &GPIO_InitStruct);

  /*Configure GPIO pins : PA3 PA4 */
  GPIO_InitStruct.Pin = GPIO_PIN_3|GPIO_PIN_4;
  GPIO_InitStruct.Mode = GPIO_MODE_OUTPUT_PP;
  GPIO_InitStruct.Pull = GPIO_NOPULL;
  GPIO_InitStruct.Speed = GPIO_SPEED_FREQ_LOW;
  HAL_GPIO_Init(GPIOA, &GPIO_InitStruct);

  /*Configure GPIO pin : PB0 */
  GPIO_InitStruct.Pin = GPIO_PIN_0;
  GPIO_InitStruct.Mode = GPIO_MODE_AF_PP;
  GPIO_InitStruct.Pull = GPIO_NOPULL;
  GPIO_InitStruct.Speed = GPIO_SPEED_FREQ_LOW;
  GPIO_InitStruct.Alternate = GPIO_AF2_TIM3;
  HAL_GPIO_Init(GPIOB, &GPIO_InitStruct);

  /*Configure GPIO pin : PB1 */
  GPIO_InitStruct.Pin = GPIO_PIN_1;
  GPIO_InitStruct.Mode = GPIO_MODE_ANALOG_ADC_CONTROL;
  GPIO_InitStruct.Pull = GPIO_NOPULL;
  HAL_GPIO_Init(GPIOB, &GPIO_InitStruct);

  /*Configure GPIO pin : PB2 */
  GPIO_InitStruct.Pin = GPIO_PIN_2;
  GPIO_InitStruct.Mode = GPIO_MODE_ANALOG;
  GPIO_InitStruct.Pull = GPIO_NOPULL;
  HAL_GPIO_Init(GPIOB, &GPIO_InitStruct);

  /*Configure GPIO pin : VL53_INT_Pin */
  GPIO_InitStruct.Pin = VL53_INT_Pin;
  GPIO_InitStruct.Mode = GPIO_MODE_IT_FALLING;
  GPIO_InitStruct.Pull = GPIO_PULLUP;
  HAL_GPIO_Init(VL53_INT_GPIO_Port, &GPIO_InitStruct);

  /*Configure GPIO pins : PE7 PE8 PE9 PE10
                           PE11 PE12 PE13 */
  GPIO_InitStruct.Pin = GPIO_PIN_7|GPIO_PIN_8|GPIO_PIN_9|GPIO_PIN_10
                          |GPIO_PIN_11|GPIO_PIN_12|GPIO_PIN_13;
  GPIO_InitStruct.Mode = GPIO_MODE_AF_PP;
  GPIO_InitStruct.Pull = GPIO_NOPULL;
  GPIO_InitStruct.Speed = GPIO_SPEED_FREQ_LOW;
  GPIO_InitStruct.Alternate = GPIO_AF1_TIM1;
  HAL_GPIO_Init(GPIOE, &GPIO_InitStruct);

  /*Configure GPIO pins : PE14 PE15 */
  GPIO_InitStruct.Pin = GPIO_PIN_14|GPIO_PIN_15;
  GPIO_InitStruct.Mode = GPIO_MODE_AF_PP;
  GPIO_InitStruct.Pull = GPIO_NOPULL;
  GPIO_InitStruct.Speed = GPIO_SPEED_FREQ_LOW;
  GPIO_InitStruct.Alternate = GPIO_AF3_TIM1_COMP1;
  HAL_GPIO_Init(GPIOE, &GPIO_InitStruct);

  /*Configure GPIO pins : PB12 PB13 PB15 */
  GPIO_InitStruct.Pin = GPIO_PIN_12|GPIO_PIN_13|GPIO_PIN_15;
  GPIO_InitStruct.Mode = GPIO_MODE_AF_PP;
  GPIO_InitStruct.Pull = GPIO_NOPULL;
  GPIO_InitStruct.Speed = GPIO_SPEED_FREQ_LOW;
  GPIO_InitStruct.Alternate = GPIO_AF13_SAI2;
  HAL_GPIO_Init(GPIOB, &GPIO_InitStruct);

  /*Configure GPIO pin : PB14 */
  GPIO_InitStruct.Pin = GPIO_PIN_14;
  GPIO_InitStruct.Mode = GPIO_MODE_AF_PP;
  GPIO_InitStruct.Pull = GPIO_NOPULL;
  GPIO_InitStruct.Speed = GPIO_SPEED_FREQ_LOW;
  GPIO_InitStruct.Alternate = GPIO_AF14_TIM15;
  HAL_GPIO_Init(GPIOB, &GPIO_InitStruct);

  /*Configure GPIO pins : PD8 PD9 */
  GPIO_InitStruct.Pin = GPIO_PIN_8|GPIO_PIN_9;
  GPIO_InitStruct.Mode = GPIO_MODE_AF_PP;
  GPIO_InitStruct.Pull = GPIO_NOPULL;
  GPIO_InitStruct.Speed = GPIO_SPEED_FREQ_VERY_HIGH;
  GPIO_InitStruct.Alternate = GPIO_AF7_USART3;
  HAL_GPIO_Init(GPIOD, &GPIO_InitStruct);

  /*Configure GPIO pins : PIXY_CS_Pin MOTOR_A_IN1_Pin MOTOR_A_IN2_Pin MOTOR_B_IN1_Pin
                           MOTOR_B_IN2_Pin */
  GPIO_InitStruct.Pin = PIXY_CS_Pin|MOTOR_A_IN1_Pin|MOTOR_A_IN2_Pin|MOTOR_B_IN1_Pin
                          |MOTOR_B_IN2_Pin;
  GPIO_InitStruct.Mode = GPIO_MODE_OUTPUT_PP;
  GPIO_InitStruct.Pull = GPIO_NOPULL;
  GPIO_InitStruct.Speed = GPIO_SPEED_FREQ_LOW;
  HAL_GPIO_Init(GPIOD, &GPIO_InitStruct);

  /*Configure GPIO pin : PD15 */
  GPIO_InitStruct.Pin = GPIO_PIN_15;
  GPIO_InitStruct.Mode = GPIO_MODE_AF_PP;
  GPIO_InitStruct.Pull = GPIO_NOPULL;
  GPIO_InitStruct.Speed = GPIO_SPEED_FREQ_LOW;
  GPIO_InitStruct.Alternate = GPIO_AF2_TIM4;
  HAL_GPIO_Init(GPIOD, &GPIO_InitStruct);

  /*Configure GPIO pin : PC6 */
  GPIO_InitStruct.Pin = GPIO_PIN_6;
  GPIO_InitStruct.Mode = GPIO_MODE_AF_PP;
  GPIO_InitStruct.Pull = GPIO_NOPULL;
  GPIO_InitStruct.Speed = GPIO_SPEED_FREQ_LOW;
  GPIO_InitStruct.Alternate = GPIO_AF13_SAI2;
  HAL_GPIO_Init(GPIOC, &GPIO_InitStruct);

  /*Configure GPIO pin : PC7 */
  GPIO_InitStruct.Pin = GPIO_PIN_7;
  GPIO_InitStruct.Mode = GPIO_MODE_OUTPUT_PP;
  GPIO_InitStruct.Pull = GPIO_NOPULL;
  GPIO_InitStruct.Speed = GPIO_SPEED_FREQ_LOW;
  HAL_GPIO_Init(GPIOC, &GPIO_InitStruct);

  /*Configure GPIO pins : PC8 PC9 PC11 PC12 */
  GPIO_InitStruct.Pin = GPIO_PIN_8|GPIO_PIN_9|GPIO_PIN_11|GPIO_PIN_12;
  GPIO_InitStruct.Mode = GPIO_MODE_AF_PP;
  GPIO_InitStruct.Pull = GPIO_NOPULL;
  GPIO_InitStruct.Speed = GPIO_SPEED_FREQ_VERY_HIGH;
  GPIO_InitStruct.Alternate = GPIO_AF12_SDMMC1;
  HAL_GPIO_Init(GPIOC, &GPIO_InitStruct);

  /*Configure GPIO pins : PA8 PA10 */
  GPIO_InitStruct.Pin = GPIO_PIN_8|GPIO_PIN_10;
  GPIO_InitStruct.Mode = GPIO_MODE_AF_PP;
  GPIO_InitStruct.Pull = GPIO_NOPULL;
  GPIO_InitStruct.Speed = GPIO_SPEED_FREQ_VERY_HIGH;
  GPIO_InitStruct.Alternate = GPIO_AF10_OTG_FS;
  HAL_GPIO_Init(GPIOA, &GPIO_InitStruct);

  /*Configure GPIO pin : PA9 */
  GPIO_InitStruct.Pin = GPIO_PIN_9;
  GPIO_InitStruct.Mode = GPIO_MODE_INPUT;
  GPIO_InitStruct.Pull = GPIO_NOPULL;
  HAL_GPIO_Init(GPIOA, &GPIO_InitStruct);

  /*Configure GPIO pin : PA11 */
  GPIO_InitStruct.Pin = GPIO_PIN_11;
  GPIO_InitStruct.Mode = GPIO_MODE_AF_PP;
  GPIO_InitStruct.Pull = GPIO_NOPULL;
  GPIO_InitStruct.Speed = GPIO_SPEED_FREQ_LOW;
  GPIO_InitStruct.Alternate = GPIO_AF1_TIM1;
  HAL_GPIO_Init(GPIOA, &GPIO_InitStruct);

  /*Configure GPIO pin : PD0 */
  GPIO_InitStruct.Pin = GPIO_PIN_0;
  GPIO_InitStruct.Mode = GPIO_MODE_AF_PP;
  GPIO_InitStruct.Pull = GPIO_NOPULL;
  GPIO_InitStruct.Speed = GPIO_SPEED_FREQ_VERY_HIGH;
  GPIO_InitStruct.Alternate = GPIO_AF9_CAN1;
  HAL_GPIO_Init(GPIOD, &GPIO_InitStruct);

  /*Configure GPIO pin : PD2 */
  GPIO_InitStruct.Pin = GPIO_PIN_2;
  GPIO_InitStruct.Mode = GPIO_MODE_AF_PP;
  GPIO_InitStruct.Pull = GPIO_NOPULL;
  GPIO_InitStruct.Speed = GPIO_SPEED_FREQ_VERY_HIGH;
  GPIO_InitStruct.Alternate = GPIO_AF12_SDMMC1;
  HAL_GPIO_Init(GPIOD, &GPIO_InitStruct);

  /*Configure GPIO pin : PD3 */
  GPIO_InitStruct.Pin = GPIO_PIN_3;
  GPIO_InitStruct.Mode = GPIO_MODE_AF_PP;
  GPIO_InitStruct.Pull = GPIO_NOPULL;
  GPIO_InitStruct.Speed = GPIO_SPEED_FREQ_VERY_HIGH;
  GPIO_InitStruct.Alternate = GPIO_AF7_USART2;
  HAL_GPIO_Init(GPIOD, &GPIO_InitStruct);

  /*Configure GPIO pin : PB6 */
  GPIO_InitStruct.Pin = GPIO_PIN_6;
  GPIO_InitStruct.Mode = GPIO_MODE_OUTPUT_PP;
  GPIO_InitStruct.Pull = GPIO_PULLUP;
  GPIO_InitStruct.Speed = GPIO_SPEED_FREQ_LOW;
  HAL_GPIO_Init(GPIOB, &GPIO_InitStruct);

  /*Configure GPIO pin : PE0 */
  GPIO_InitStruct.Pin = GPIO_PIN_0;
  GPIO_InitStruct.Mode = GPIO_MODE_AF_PP;
  GPIO_InitStruct.Pull = GPIO_NOPULL;
  GPIO_InitStruct.Speed = GPIO_SPEED_FREQ_LOW;
  GPIO_InitStruct.Alternate = GPIO_AF2_TIM4;
  HAL_GPIO_Init(GPIOE, &GPIO_InitStruct);

  /* EXTI interrupt init*/
  HAL_NVIC_SetPriority(EXTI15_10_IRQn, 0, 0);
  HAL_NVIC_EnableIRQ(EXTI15_10_IRQn);

  /* USER CODE BEGIN MX_GPIO_Init_2 */
	GPIO_InitStruct.Pin = GPIO_PIN_7 | GPIO_PIN_14;  /* LD2 blue | LD3 red */
	GPIO_InitStruct.Mode = GPIO_MODE_OUTPUT_PP;
	GPIO_InitStruct.Pull = GPIO_NOPULL;
	GPIO_InitStruct.Speed = GPIO_SPEED_FREQ_LOW;
	HAL_GPIO_Init(GPIOB, &GPIO_InitStruct);

	HAL_GPIO_WritePin(GPIOB, GPIO_PIN_7, GPIO_PIN_RESET);
	HAL_GPIO_WritePin(GPIOB, GPIO_PIN_14, GPIO_PIN_RESET);
  /* USER CODE END MX_GPIO_Init_2 */
}

/* USER CODE BEGIN 4 */
#ifdef __GNUC__
#define PUTCHAR_PROTOTYPE int __io_putchar(int ch)
#else
  #define PUTCHAR_PROTOTYPE int fputc(int ch, FILE *f)
#endif /* __GNUC__ */
PUTCHAR_PROTOTYPE
{
  HAL_UART_Transmit(&hlpuart1, (uint8_t *)&ch, 1, 0xFFFF);
  return ch;
}

void HAL_I2C_MemRxCpltCallback(I2C_HandleTypeDef *hi2c) {
    if (hi2c->Instance == I2C2) {
        imu_data_ready = true;
    }
}

void HAL_GPIO_EXTI_Callback(uint16_t GPIO_Pin)
{
  if ((GPIO_Pin == VL53_INT_Pin) && (vl53_threshold_latched == 0U))
  {
    vl53_irq_pending = 1U;
  }
}

void HAL_I2C_ErrorCallback(I2C_HandleTypeDef *hi2c) {
    if (hi2c->Instance == I2C2) {
        imu_i2c_error = true;
    }
}

/* USER CODE END 4 */

void Error_Handler(void)
{
  /* USER CODE BEGIN Error_Handler_Debug */
  __disable_irq();
  while (1)
	{
	  HAL_GPIO_WritePin(GPIOB, GPIO_PIN_7, GPIO_PIN_SET);
	  for (volatile uint32_t i = 0; i < 1000000; i++);
	  HAL_GPIO_WritePin(GPIOB, GPIO_PIN_7, GPIO_PIN_RESET);
	  for (volatile uint32_t i = 0; i < 1000000; i++);
	}
  /* USER CODE END Error_Handler_Debug */
}
